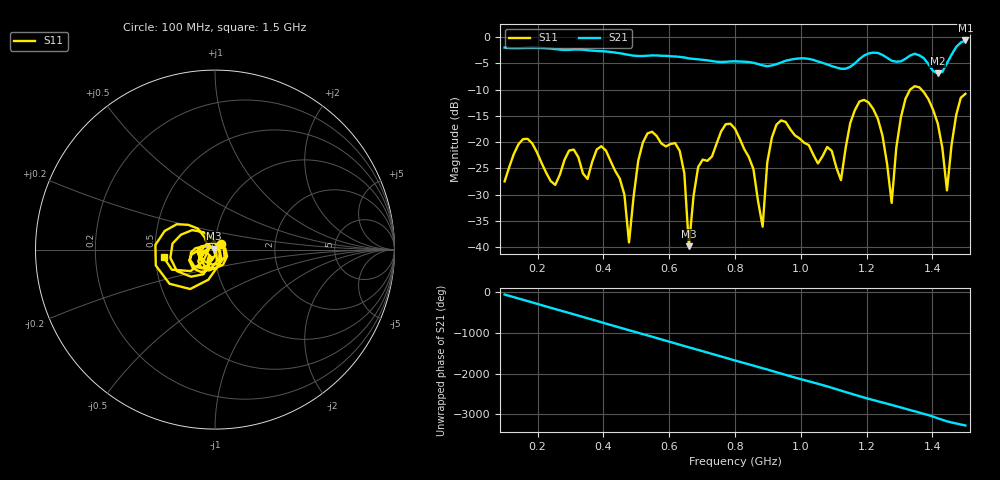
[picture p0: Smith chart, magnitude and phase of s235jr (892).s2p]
! NanoVNA-App
! Date: 2025-09-25 15:11:07
! Start: 100MHz Stop: 1,5GHz Points: 101
! S-Parameter data: F S11 S21 S12 S22
# Hz S RI R 50
!  Frequency  S11_Real  S11_Imag  S21_Real  S21_Imag  S12_Real  S12_Imag  S22_Real  S22_Imag
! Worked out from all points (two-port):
!   101 points, 100 MHz to 1.5 GHz, reference 50 ohm
!   highest |S21| = -0.61 dB at 1.5 GHz (marker M1); lowest = -6.9 dB at 1.416 GHz (marker M2)
!   |S21| within 3 dB of the highest: start of sweep to 602.6 MHz; 1.189 GHz to 1.254 GHz (65.06 MHz wide, 5.32 % of centre) (the widest 2 of 4)
!   lowest |S11| = -39.8 dB at 660 MHz (marker M3), VSWR 1.02, Z = 49.2 + j0.585 ohm
!   |S11| at or under -10 dB: start of sweep to 1.332 GHz; 1.367 GHz to end of sweep
!   S12 and S22 are empty: the file has one direction only
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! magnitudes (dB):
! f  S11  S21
! 100 MHz  -27.5  -2.0
! 156 MHz  -19.4  -2.0
! 338 MHz  -26.0  -2.4
! 408 MHz  -21.6  -2.7
! 478 MHz  -39.1  -3.4
! 520 MHz  -20.1  -3.6
! 576 MHz  -20.2  -3.5
! 632 MHz  -21.7  -3.7
! 660 MHz  -39.8  -4.0
! 688 MHz  -24.8  -4.2
! 800 MHz  -17.4  -4.6
! 884 MHz  -36.1  -5.4
! 926 MHz  -16.7  -5.1
! 1.038 GHz  -22.4  -4.3
! 1.122 GHz  -27.2  -6.0
! 1.164 GHz  -13.9  -5.0
! 1.206 GHz  -12.4  -3.1
! 1.276 GHz  -31.6  -4.5
! 1.332 GHz  -10.0  -3.5
! 1.416 GHz  -16.4  -6.9
! 1.444 GHz  -29.2  -4.9
! 1.5 GHz  -10.8  -0.6
